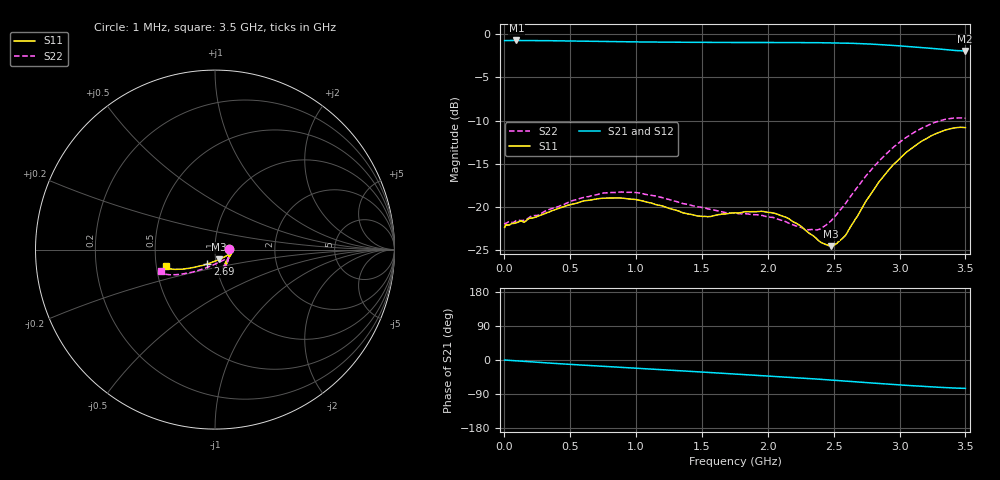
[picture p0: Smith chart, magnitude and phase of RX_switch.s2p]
! Created with skrf (http://scikit-rf.org).
# Hz S RI R 50.0
!freq ReS11 ImS11 ReS21 ImS21 ReS12 ImS12 ReS22 ImS22
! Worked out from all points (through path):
!   708 points, 1 MHz to 3.5 GHz, reference 50 ohm
!   highest |S21| = -0.71 dB at 90 MHz (marker M1); lowest = -1.9 dB at 3.495 GHz (marker M2)
!   group delay of S21, straight-line fit = 59.8 ps
!   lowest |S11| = -24.6 dB at 2.48 GHz (marker M3), VSWR 1.13, Z = 52 - j5.68 ohm
!   |S11| at or under -10 dB: start of sweep to end of sweep
!   |S22| runs from -22.7 to -9.7 dB; largest |S21 - S12| = 0.0087
!   S11 on the Smith chart (normalised r, x): 1 MHz: 1.16, +0.00; 2.69 GHz: 0.91, -0.14; 3.5 GHz: 0.56, -0.11
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1000000  0.0758 0.00134  0.9195 -0.00115  0.9109 -0.00193  0.0802 0.0008
9e7  0.079 -0.0165  0.9207 -0.0378  0.9165 -0.037  0.0812 -0.0179
1.55e8  0.0763 -0.0292  0.919 -0.0625  0.9157 -0.0619  0.0779 -0.0304
5.85e8  0.0604 -0.0884  0.888 -0.2102  0.8869 -0.2099  0.0557 -0.0975
8.75e8  0.0501 -0.1007  0.8554 -0.2982  0.8549 -0.2978  0.0426 -0.1138
1.17e9  0.0515 -0.0882  0.8163 -0.3827  0.8161 -0.382  0.0437 -0.1055
1.475e9  0.0669 -0.0574  0.7678 -0.4664  0.7679 -0.4656  0.0594 -0.0801
1.755e9  0.0862 -0.0327  0.7174 -0.5379  0.7175 -0.5375  0.073 -0.0553
2.055e9  0.0885 -0.0221  0.6531 -0.6138  0.6534 -0.6137  0.0713 -0.0475
2.155e9  0.0817 -0.0253  0.6288 -0.6383  0.6293 -0.6382  0.0621 -0.0513
2.335e9  0.0563 -0.039  0.5815 -0.6798  0.5818 -0.6807  0.0328 -0.0659
2.395e9  0.0438 -0.045  0.5646 -0.6931  0.5648 -0.6941  0.0183 -0.0718
2.48e9  0.0229 -0.0544  0.5382 -0.7121  0.5386 -0.7126  -0.00398 -0.0827
2.58e9  -0.00629 -0.0668  0.5053 -0.7321  0.5053 -0.7327  -0.0347 -0.0958
2.69e9  -0.0434 -0.0794  0.4665 -0.751  0.4665 -0.7513  -0.074 -0.11
2.835e9  -0.0977 -0.0949  0.4129 -0.7694  0.4133 -0.7694  -0.1296 -0.1261
2.92e9  -0.1292 -0.101  0.3811 -0.7769  0.3819 -0.7764  -0.1627 -0.1324
3.055e9  -0.1773 -0.1085  0.3327 -0.7829  0.3332 -0.7827  -0.2121 -0.1394
3.24e9  -0.2331 -0.1096  0.2719 -0.7836  0.272 -0.784  -0.2688 -0.1384
3.37e9  -0.2617 -0.1039  0.2342 -0.7784  0.2347 -0.7788  -0.2964 -0.1299
3.495e9  -0.2721 -0.0933  0.2093 -0.7732  0.2105 -0.7738  -0.3036 -0.1199
3.5e9  -0.272 -0.0929  0.2089 -0.7734  0.21 -0.7741  -0.3036 -0.1197
